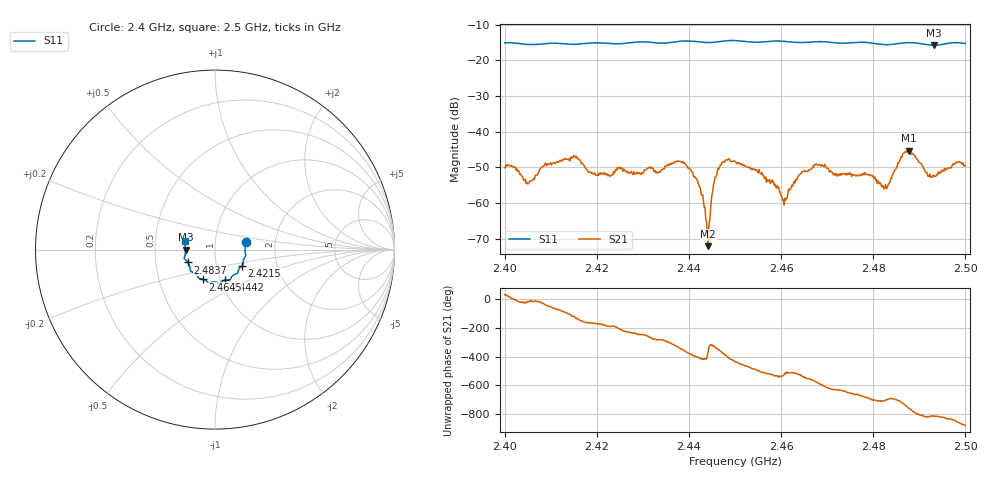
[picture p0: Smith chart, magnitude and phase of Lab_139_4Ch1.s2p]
# Hz S RI R 50
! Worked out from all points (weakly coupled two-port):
!   601 points, 2.4 GHz to 2.5 GHz, reference 50 ohm
!   highest |S21| = -45.34 dB at 2.4877 GHz (marker M1); lowest = -72.1 dB at 2.4442 GHz (marker M2)
!   lowest |S11| = -15.7 dB at 2.4932 GHz (marker M3), VSWR 1.39, Z = 35.9 - j0.0527 ohm
!   |S11| at or under -10 dB: start of sweep to end of sweep
!   S12 and S22 are empty: the file has one direction only
!   S11 on the Smith chart (normalised r, x): 2.4 GHz: 1.41, +0.12; 2.4215 GHz: 1.33, -0.25; 2.4442 GHz: 1.05, -0.37; 2.4645 GHz: 0.83, -0.29; 2.4837 GHz: 0.73, -0.11; 2.5 GHz: 0.71, +0.07
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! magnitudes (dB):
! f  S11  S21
! 2.4 GHz  -15.1  -50.1
! 2.4052 GHz  -15.5  -54.6
! 2.4088 GHz  -15.3  -48.8
! 2.4167 GHz  -15.3  -48.9
! 2.4215 GHz  -15.1  -51.5
! 2.4333 GHz  -15.1  -51.4
! 2.4392 GHz  -14.5  -49.1
! 2.442 GHz  -14.7  -54.3
! 2.4442 GHz  -15.0  -72.1
! 2.4453 GHz  -14.9  -54.9
! 2.4462 GHz  -14.8  -51.1
! 2.4477 GHz  -14.5  -48.6
! 2.45 GHz  -14.4  -48.3
! 2.4557 GHz  -14.8  -51.9
! 2.4607 GHz  -14.6  -60.5
! 2.4645 GHz  -15.0  -51.2
! 2.4667 GHz  -14.8  -50.4
! 2.4833 GHz  -15.6  -54.7
! 2.4837 GHz  -15.5  -54.0
! 2.4877 GHz  -15.0  -45.3
! 2.4932 GHz  -15.7  -52.3
! 2.5 GHz  -15.3  -49.5
